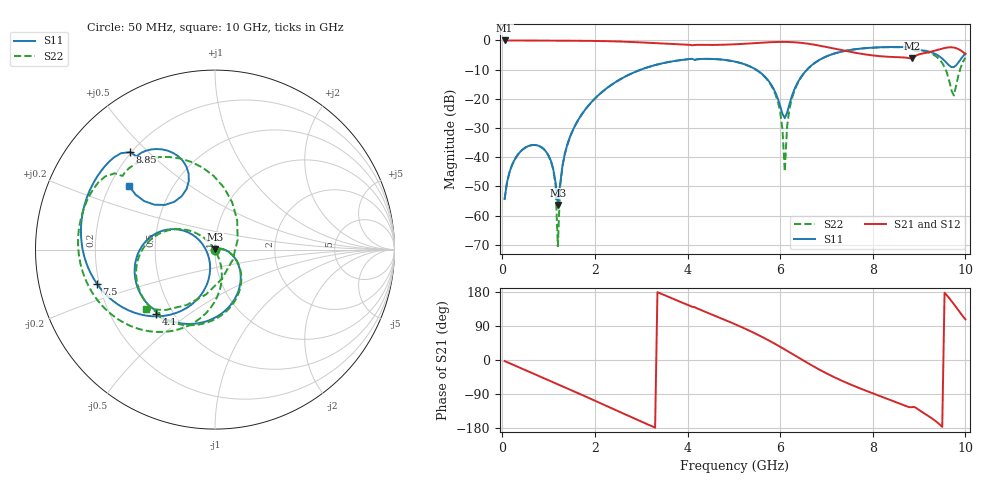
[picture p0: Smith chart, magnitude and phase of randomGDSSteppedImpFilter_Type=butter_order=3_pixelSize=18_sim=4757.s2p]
! freq	dB(S11)	phase(S11)	dB(S12)	phase(S12)
!  dB(S21)	phase(S21)	dB(S22)	phase(S22)
!S-par simulation data
#  GHz  S  DB  R 50
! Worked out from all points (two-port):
!   200 points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, 50 MHz to 10 GHz, reference 50 ohm
!   highest |S21| = -0.01 dB at 50 MHz (marker M1); lowest = -6.1 dB at 8.85 GHz (marker M2)
!   |S21| within 3 dB of the highest: start of sweep to 7.227 GHz; 9.45 GHz to 9.854 GHz (403.7 MHz wide, 4.18 % of centre)
!   lowest |S11| = -56.4 dB at 1.2 GHz (marker M3), VSWR 1.00, Z = 49.9 + j0.121 ohm
!   |S11| at or under -10 dB: start of sweep to 2.993 GHz; 5.479 GHz to 6.58 GHz (1.101 GHz wide, 18.3 % of centre)
!   |S22| runs from -70.5 to -2.3 dB; largest |S21 - S12| = 0
!   S11 on the Smith chart (normalised r, x): 50 MHz: 1.00, -0.00; 4.1 GHz: 0.40, -0.38; 7.5 GHz: 0.19, -0.14; 8.85 GHz: 0.19, +0.44; 10 GHz: 0.28, +0.31
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0.05  -54.33 -79.9  -0.01 -2.7  -0.01 -2.7  -54.33 -79.7
0.35  -38.84 -108.0  -0.03 -18.7  -0.03 -18.7  -38.83 -107.0
0.9  -37.27 -142.3  -0.06 -47.9  -0.06 -47.9  -37.30 -137.9
1.15  -48.62 -176.8  -0.07 -61.2  -0.07 -61.2  -49.41 -151.2
1.2  -56.39 126.7  -0.07 -63.9  -0.07 -63.9  -70.47 -149.4
1.3  -42.86 32.7  -0.08 -69.3  -0.08 -69.3  -43.04 20.3
1.75  -24.56 -2.8  -0.12 -93.7  -0.12 -93.7  -24.55 -3.8
3.4  -8.04 -95.1  -1.00 176.4  -1.00 176.4  -8.03 -92.6
4.1  -6.28 -132.4  -1.65 140.5  -1.65 140.5  -6.31 -129.4
5.05  -7.34 -177.1  -1.30 93.2  -1.30 93.2  -7.36 -173.8
5.85  -16.30 146.6  -0.56 45.3  -0.56 45.3  -16.68 139.7
6  -22.40 156.5  -0.50 34.9  -0.50 34.9  -24.38 130.5
6.1  -26.61 -156.1  -0.50 27.8  -0.50 27.8  -44.93 -167.3
6.15  -24.81 -125.9  -0.51 24.2  -0.51 24.2  -29.39 -64.9
6.25  -19.20 -104.2  -0.57 17.0  -0.57 17.0  -20.04 -70.0
6.7  -8.26 -118.5  -1.36 -15.4  -1.36 -15.4  -8.30 -101.3
7.5  -3.29 -163.9  -3.88 -63.6  -3.88 -63.6  -3.30 -148.8
8.35  -2.26 156.8  -5.61 -104.0  -5.61 -104.0  -2.31 171.3
8.85  -2.84 131.1  -6.14 -124.3  -6.14 -124.3  -3.07 142.8
9.4  -5.06 111.5  -3.23 -165.5  -3.23 -165.5  -5.90 105.2
9.75  -9.13 130.5  -2.43 147.6  -2.43 147.6  -18.85 -30.4
10  -4.53 143.6  -4.64 107.3  -4.64 107.3  -5.89 -138.9
